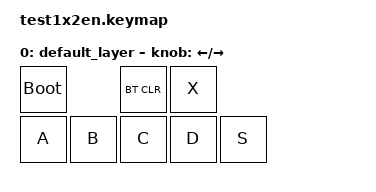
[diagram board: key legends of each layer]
#include <behaviors.dtsi>
#include <dt-bindings/zmk/keys.h>
#include <dt-bindings/zmk/bt.h>

/ {  
    keymap {
        compatible = "zmk,keymap";

        default_layer {
            bindings = <
                &bootloader     &bt BT_CLR    &kp X
                &kp A     &kp B     &kp C     &kp D     &kp S     
            >;

            sensor-bindings = <&inc_dec_kp LEFT RIGHT>; // press left & right keys

        }; 

    };
};

// | K1  | K2  | ENC_PUSH
// | N_A | N_B | N_C       | N_D | N_S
